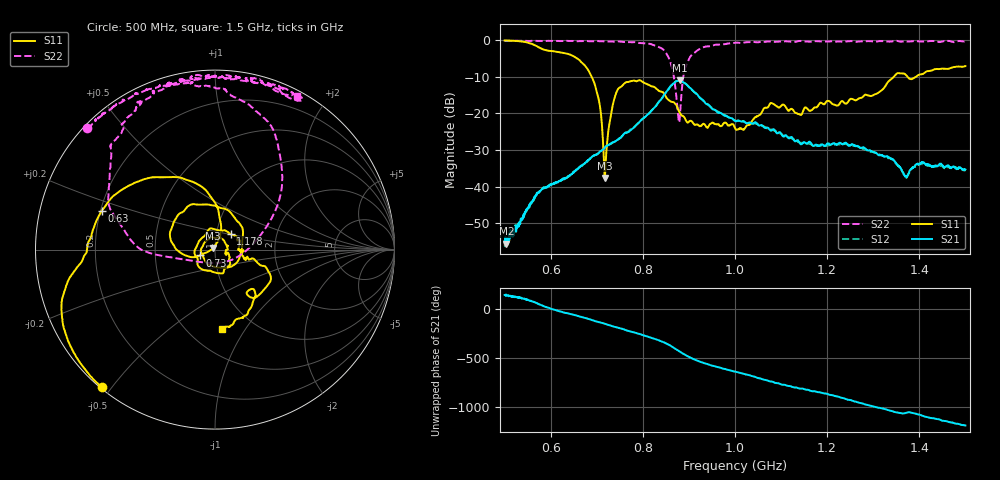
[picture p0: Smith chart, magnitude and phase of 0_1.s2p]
!Agilent Technologies,E8364B,US42250235,A.06.04.32
!Agilent E8364B: A.06.04.32
!Date: Friday, January 15, 2021 16:09:05
!Correction: S11(Full 2 Port(1,2)) S21(Full 2 Port(1,2)) S12(Full 2 Port(1,2)) S22(Full 2 Port(1,2))
!S2P File: Measurements: S11, S21, S12, S22:
# Hz S  dB  R 50
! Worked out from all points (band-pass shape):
!   1601 points, 500 MHz to 1.5 GHz, reference 50 ohm
!   highest |S21| = -10.99 dB at 880 MHz (marker M1); lowest = -55.5 dB at 503.8 MHz (marker M2)
!   |S21| within 3 dB of the highest: 851.7 MHz to 909.9 MHz (58.26 MHz wide, 6.61 % of centre)
!   lowest |S11| = -37.6 dB at 717.5 MHz (marker M3), VSWR 1.03, Z = 49 + j0.827 ohm
!   |S11| at or under -10 dB: 688.8 MHz to 1.344 GHz (655.6 MHz wide, 64.5 % of centre); 1.374 GHz to 1.392 GHz (17.95 MHz wide, 1.3 % of centre)
!   |S22| runs from -22.5 to -0.1 dB; largest |S21 - S12| = 0.0048
!   S11 on the Smith chart (normalised r, x): 500 MHz: 0.00, -0.47; 630 MHz: 0.20, +0.16; 730 MHz: 0.84, -0.06; 1.178 GHz: 1.17, +0.21; 1.5 GHz: 0.72, -0.79
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5e8  -0.06 -129.3  -54.81 137.5  -55.19 138.6  -0.16 136.4
5.0375e8  -0.07 -130.9  -55.50 133.4  -54.61 133.0  -0.16 135.9
5.5375e8  -0.77 -159.1  -44.83 82.7  -45.09 82.0  -0.20 129.9
6.3e8  -3.52 161.3  -37.76 -41.9  -37.76 -41.0  -0.17 121.0
6.66875e8  -6.03 126.2  -34.22 -86.0  -34.31 -86.0  -0.23 116.7
7.00625e8  -14.43 82.9  -31.17 -132.5  -31.11 -132.4  -0.22 112.9
7.175e8  -37.61 140.1  -29.28 -153.8  -29.27 -154.5  -0.31 112.0
7.3e8  -20.88 -158.7  -28.21 -172.6  -28.28 -174.0  -0.31 108.5
7.625e8  -11.54 161.7  -25.20 141.7  -25.39 142.9  -0.51 102.8
8.3375e8  -13.74 56.7  -17.01 39.1  -16.95 38.8  -1.77 74.7
8.60625e8  -16.74 -6.3  -12.44 -18.6  -12.55 -18.6  -6.30 40.7
8.8e8  -19.76 -77.5  -10.99 -76.2  -11.03 -76.3  -21.42 -119.2
8.90625e8  -21.17 -123.5  -11.67 -107.1  -11.66 -107.3  -8.09 -178.9
9.05625e8  -22.10 -179.3  -13.34 -143.3  -13.44 -143.7  -4.02 158.5
9.3e8  -22.87 108.1  -16.28 171.1  -16.45 171.1  -1.97 136.4
1e9  -23.97 -1.9  -22.04 79.2  -21.90 79.2  -0.67 116.8
1.079375e9  -17.16 -73.2  -24.69 -20.5  -24.45 -23.1  -0.40 105.6
1.166875e9  -19.02 69.6  -28.52 -119.2  -28.57 -117.3  -0.36 91.8
1.178125e9  -18.23 45.2  -28.63 -127.0  -28.76 -126.2  -0.27 92.6
1.33375e9  -11.16 -19.0  -31.95 47.6  -32.21 48.9  -0.38 77.5
1.37125e9  -9.51 -52.9  -37.21 22.1  -37.42 20.8  -0.31 74.1
1.5e9  -7.07 -84.9  -35.27 -106.6  -35.60 -108.4  -0.27 61.9
